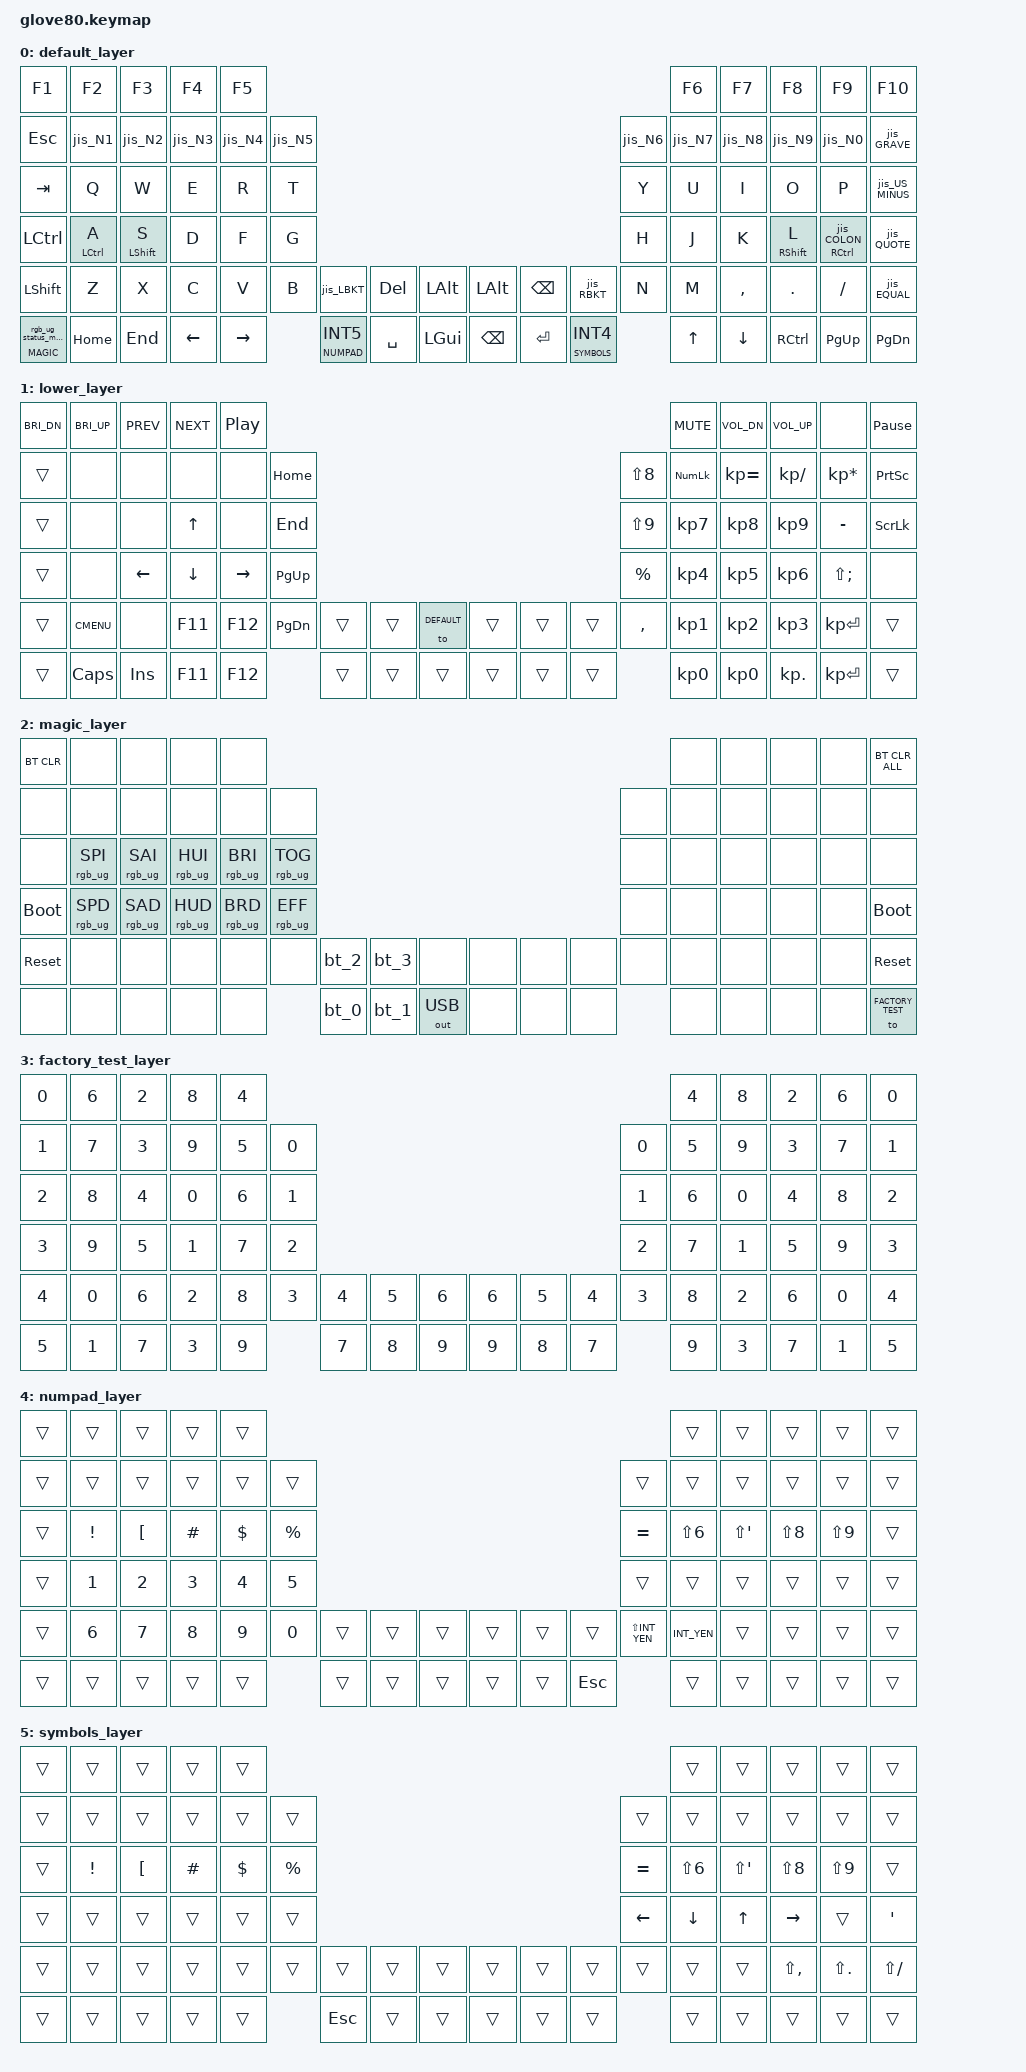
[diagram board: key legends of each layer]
/*
 * Copyright (c) 2020 The ZMK Contributors
 *
 * SPDX-License-Identifier: MIT
 */

#include <behaviors.dtsi>
#include <dt-bindings/zmk/bt.h>
#include <dt-bindings/zmk/keys.h>
#include <dt-bindings/zmk/outputs.h>
#include <dt-bindings/zmk/rgb.h>
#include "behaviors/us_like_jis.dtsi"

#define HYPER LC(LS(LG(LALT)))

// layers

#define DEFAULT 0
#define LOWER 1
#define MAGIC 2
#define FACTORY_TEST 3
#define NUMPAD 4
#define SYMBOLS 5

// JIS key definitions - maps US physical layout to JIS OS output
// Basic symbols

#define JIS_AT        LBKT          // @
#define JIS_BACKQUOTE LS(LBKT)      // `
#define JIS_CARET     EQUAL         // ^
#define JIS_TILDE     LS(EQUAL)     // ~
#define JIS_LBRACKET  RBKT          // [
#define JIS_LBRACE    LS(RBKT)      // {
#define JIS_RBRACKET  BSLH          // ]
#define JIS_RBRACE    LS(BSLH)      // }
#define JIS_SEMICOLON SEMI          // ;
#define JIS_PLUS      LS(SEMI)      // +
#define JIS_COLON     SQT           // :
#define JIS_ASTERISK  LS(SQT)       // *
#define JIS_MINUS     MINUS         // -
#define JIS_EQUAL     LS(MINUS)     // =
#define JIS_UNDERSCORE LS(INT_RO)   // _
#define JIS_QUOTE     LS(N7)        // '
#define JIS_DQUOTE    LS(N2)        // "
#define JIS_AMPERSAND LS(N6)        // &
#define JIS_LPAREN    LS(N8)        // (
#define JIS_RPAREN    LS(N9)        // )

// Japanese specific keys

#define JIS_YEN       INT_RO        // ¥
#define JIS_PIPE      LS(INT_RO)    // | (alternative: LS(YEN))
#define JIS_HENKAN    INT4          // 変換
#define JIS_MUHENKAN  INT5          // 無変換

/ {
    combos {
        compatible = "zmk,combos";

        combo_tab {
            timeout-ms = <50>;
            key-positions = <37 38>; // D (37) + F (38)
            bindings = <&kp TAB>;
        };
    };

    behaviors {
        // For the "layer" key, it'd nice to be able to use it as either a shift or a toggle.
        // Configure it as a tap dance, so the first tap (or hold) is a &mo and the second tap is a &to

        layer_td: tap_dance_0 {
            compatible = "zmk,behavior-tap-dance";
            label = "LAYER_TAP_DANCE";
            #binding-cells = <0>;
            tapping-term-ms = <200>;
            bindings = <&mo LOWER>, <&to LOWER>;
        };

        magic: magic_hold_tap {
            compatible = "zmk,behavior-hold-tap";
            label = "MAGIC_HOLD_TAP";
            #binding-cells = <2>;
            flavor = "tap-preferred";
            tapping-term-ms = <200>;
            bindings = <&mo>, <&rgb_ug_status_macro>;
        };

        muhenkan_ht: muhenkan_hold_tap {
            compatible = "zmk,behavior-hold-tap";
            label = "MUHENKAN_HOLD_TAP";
            #binding-cells = <2>;
            flavor = "tap-preferred";
            tapping-term-ms = <200>;
            bindings = <&mo>, <&kp>;
        };

        henkan_ht: henkan_hold_tap {
            compatible = "zmk,behavior-hold-tap";
            label = "HENKAN_HOLD_TAP";
            #binding-cells = <2>;
            flavor = "tap-preferred";
            tapping-term-ms = <200>;
            bindings = <&mo>, <&kp>;
        };

        // Home row mods - optimized for typing

        hm_l: homerow_mods_left {
            compatible = "zmk,behavior-hold-tap";
            label = "HOMEROW_MODS_LEFT";
            #binding-cells = <2>;
            flavor = "balanced";
            tapping-term-ms = <280>;
            quick-tap-ms = <175>;
            bindings = <&kp>, <&kp>;

            hold-trigger-key-positions = <6 7 8 9 10 11 18 19 20 21 22 23 30 31 32 33 34 35 42 43 44 45 46 47 54 55 56 57 58 59 60 61 62 63 64 65 66 67 68 69 70 71 72 73 74 75 76 77 78 79>;  // right hand + thumbs
            hold-trigger-on-release;  // Activate hold immediately when pressing cross-hand key
        };

        hm_r: homerow_mods_right {
            compatible = "zmk,behavior-hold-tap";
            label = "HOMEROW_MODS_RIGHT";
            #binding-cells = <2>;
            flavor = "balanced";
            tapping-term-ms = <280>;
            quick-tap-ms = <175>;
            bindings = <&kp>, <&kp>;

            hold-trigger-key-positions = <0 1 2 3 4 5 12 13 14 15 16 17 24 25 26 27 28 29 36 37 38 39 40 41 48 49 50 51 52 53 54 55 56 57 58 59 60 61 62 63 64 65 66 67 68 69 70 71 72 73 74 75 76 77 78 79>;  // left hand + thumbs
            hold-trigger-on-release;  // Activate hold immediately when pressing cross-hand key
        };

        semicolon_rctrl: semicolon_rctrl {
            compatible = "zmk,behavior-hold-tap";
            label = "SEMICOLON_RCTRL";
            #binding-cells = <2>;
            flavor = "balanced";
            tapping-term-ms = <280>;
            quick-tap-ms = <175>;
            bindings = <&kp>, <&jis_COLON>;

            hold-trigger-key-positions = <0 1 2 3 4 5 12 13 14 15 16 17 24 25 26 27 28 29 36 37 38 39 40 41 48 49 50 51 52 53 54 55 56 57 58 59 60 61 62 63 64 65 66 67 68 69 70 71 72 73 74 75 76 77 78 79>;  // left hand + thumbs
            hold-trigger-on-release;  // Activate hold immediately when pressing cross-hand key
        };
    };

    macros {
        rgb_ug_status_macro: rgb_ug_status_macro_0 {
            label = "RGB_UG_STATUS";
            compatible = "zmk,behavior-macro";
            #binding-cells = <0>;
            bindings = <&rgb_ug RGB_STATUS>;
        };

        bt_0: bt_profile_macro_0 {
            label = "BT_0";
            compatible = "zmk,behavior-macro";
            #binding-cells = <0>;
            bindings = <&out OUT_BLE &bt BT_SEL 0>;
        };

        bt_1: bt_profile_macro_1 {
            label = "BT_1";
            compatible = "zmk,behavior-macro";
            #binding-cells = <0>;
            bindings = <&out OUT_BLE &bt BT_SEL 1>;
        };

        bt_2: bt_profile_macro_2 {
            label = "BT_2";
            compatible = "zmk,behavior-macro";
            #binding-cells = <0>;
            bindings = <&out OUT_BLE &bt BT_SEL 2>;
        };

        bt_3: bt_profile_macro_3 {
            label = "BT_3";
            compatible = "zmk,behavior-macro";
            #binding-cells = <0>;
            bindings = <&out OUT_BLE &bt BT_SEL 3>;
        };
    };

    keymap {
        compatible = "zmk,keymap";

        default_layer {
            // ---------------------------------------------------------------------------------------------------------------------------------
            // |  F1   |  F2 |  F3 |  F4  |  F5  |                                                               |  F6   |  F7   |  F8  |   F9  |  F10 |
            // |  ESC  |  1  |  2  |  3   |  4   |  5   |                                                 |  6   |   7   |   8   |  9   |   0   |   `  |  (US layout, JIS keycodes)
            // |  TAB  |  Q  |  W  |  E   |  R   |  T   |                                                 |  Y   |   U   |   I   |  O   |   P   |   -  |
            // | CTRL  | A/Ctrl | S/Shift | D | F | G   |                                                 |  H   |   J   |   K   | L/Shift | ;/Ctrl |   '  |  (Home row mods)
            // | SHFT  |  Z  |  X  |  C   |  V   |  B   |  }    | DEL   | ALT   | | ALT   | BSPC  |  {    |  N   |   M   |   ,   |  .   |   /   |   =  |
            // | MAGIC | HOME| END | LEFT | RIGHT|      | 無変換 | SPACE | GUI   | | BKSP | ENTER | 変換  |      |  UP   | DOWN  | Shift | PGUP | PGDN |

            bindings = <
&kp F1          &kp F2         &kp F3         &kp F4    &kp F5                                                                                                                        &kp F6   &kp F7     &kp F8         &kp F9                    &kp F10
&kp ESC         &jis_N1        &jis_N2        &jis_N3   &jis_N4    &jis_N5                                                                                                   &jis_N6  &jis_N7  &jis_N8    &jis_N9        &jis_N0                   &jis_GRAVE
&kp TAB         &kp Q          &kp W          &kp E     &kp R      &kp T                                                                                                     &kp Y    &kp U    &kp I      &kp O          &kp P                     &jis_US_MINUS
&kp LCTRL       &hm_l LCTRL A  &hm_l LSHFT S  &kp D     &kp F      &kp G                                                                                                     &kp H    &kp J    &kp K      &hm_r RSHFT L  &semicolon_rctrl RCTRL 0  &jis_QUOTE
&kp LSHFT       &kp Z          &kp X          &kp C     &kp V      &kp B    &jis_LBKT                 &kp DEL    &kp LALT  &kp LALT       &kp BSPC  &jis_RBKT                &kp N    &kp M    &kp COMMA  &kp DOT        &kp FSLH                  &jis_EQUAL
&magic MAGIC 0  &kp HOME       &kp END        &kp LEFT  &kp RIGHT           &muhenkan_ht NUMPAD INT5  &kp SPACE  &kp LGUI  &kp BACKSPACE  &kp RET   &henkan_ht SYMBOLS INT4           &kp UP   &kp DOWN   &kp RCTRL      &kp PG_UP                 &kp PG_DN
            >;
        };

        lower_layer {
            bindings = <
&kp C_BRI_DN  &kp C_BRI_UP  &kp C_PREV  &kp C_NEXT  &kp C_PP                                                                               &kp C_MUTE  &kp C_VOL_DN  &kp C_VOL_UP   &none            &kp PAUSE_BREAK
&trans        &none         &none       &none       &none      &kp HOME                                                        &kp LS(N8)  &kp KP_NUM  &kp KP_EQUAL  &kp KP_DIVIDE  &kp KP_MULTIPLY  &kp PSCRN
&trans        &none         &none       &kp UP      &none      &kp END                                                         &kp LS(N9)  &kp KP_N7   &kp KP_N8     &kp KP_N9      &kp MINUS        &kp SLCK
&trans        &none         &kp LEFT    &kp DOWN    &kp RIGHT  &kp PG_UP                                                       &kp PRCNT   &kp KP_N4   &kp KP_N5     &kp KP_N6      &kp LS(SEMI)     &none
&trans        &kp K_CMENU   &none       &kp F11     &kp F12    &kp PG_DN  &trans  &trans  &to DEFAULT  &trans  &trans  &trans  &kp COMMA   &kp KP_N1   &kp KP_N2     &kp KP_N3      &kp KP_ENTER     &trans
&trans        &kp CAPS      &kp INS     &kp F11     &kp F12               &trans  &trans  &trans       &trans  &trans  &trans              &kp KP_N0   &kp KP_N0     &kp KP_DOT     &kp KP_ENTER     &trans
            >;
        };

        magic_layer {
            bindings = <
&bt BT_CLR   &none            &none            &none            &none                                                                                     &none  &none  &none  &none  &bt BT_CLR_ALL
&none        &none            &none            &none            &none            &none                                                             &none  &none  &none  &none  &none  &none
&none        &rgb_ug RGB_SPI  &rgb_ug RGB_SAI  &rgb_ug RGB_HUI  &rgb_ug RGB_BRI  &rgb_ug RGB_TOG                                                   &none  &none  &none  &none  &none  &none
&bootloader  &rgb_ug RGB_SPD  &rgb_ug RGB_SAD  &rgb_ug RGB_HUD  &rgb_ug RGB_BRD  &rgb_ug RGB_EFF                                                   &none  &none  &none  &none  &none  &bootloader
&sys_reset   &none            &none            &none            &none            &none            &bt_2  &bt_3  &none         &none  &none  &none  &none  &none  &none  &none  &none  &sys_reset
&none        &none            &none            &none            &none                             &bt_0  &bt_1  &out OUT_USB  &none  &none  &none         &none  &none  &none  &none  &to FACTORY_TEST
            >;
        };

        factory_test_layer {
            bindings = <
&kp N0  &kp N6  &kp N2  &kp N8  &kp N4                                                                  &kp N4  &kp N8  &kp N2  &kp N6  &kp N0
&kp N1  &kp N7  &kp N3  &kp N9  &kp N5  &kp N0                                                  &kp N0  &kp N5  &kp N9  &kp N3  &kp N7  &kp N1
&kp N2  &kp N8  &kp N4  &kp N0  &kp N6  &kp N1                                                  &kp N1  &kp N6  &kp N0  &kp N4  &kp N8  &kp N2
&kp N3  &kp N9  &kp N5  &kp N1  &kp N7  &kp N2                                                  &kp N2  &kp N7  &kp N1  &kp N5  &kp N9  &kp N3
&kp N4  &kp N0  &kp N6  &kp N2  &kp N8  &kp N3  &kp N4  &kp N5  &kp N6  &kp N6  &kp N5  &kp N4  &kp N3  &kp N8  &kp N2  &kp N6  &kp N0  &kp N4
&kp N5  &kp N1  &kp N7  &kp N3  &kp N9          &kp N7  &kp N8  &kp N9  &kp N9  &kp N8  &kp N7          &kp N9  &kp N3  &kp N7  &kp N1  &kp N5
            >;
        };

        numpad_layer {
            // ---------------------------------------------------------------------------------------------------------------------------------
            // NUMPAD layer: asdfgzxcvb = 1234567890, qwertyuiop = !@#$%^&*()
            // |       |     |     |      |      |                                                               |       |       |      |       |      |
            // |       |     |     |      |      |      |                                                 |      |       |       |      |       |      |
            // |       |  !  |  @  |  #   |  $   |  %   |                                                 |  ^   |   &   |   *   |  (   |   )   |      |
            // |       |  1  |  2  |  3   |  4   |  5   |                                                 |  H   |   J   |   K   |  L   |   ;   |      |
            // |       |  6  |  7  |  8   |  9   |  0   |       |       |       | |       |       |       |  N   |   M   |   ,   |  .   |   /   |      |
            // |       |     |     |      |      |      |       |       |       | |       |       |       |      |       |       |      |       |      |

            bindings = <
&trans  &trans    &trans    &trans    &trans                                                                                 &trans       &trans       &trans      &trans      &trans
&trans  &trans    &trans    &trans    &trans    &trans                                                      &trans           &trans       &trans       &trans      &trans      &trans
&trans  &kp EXCL  &kp LBKT  &kp HASH  &kp DLLR  &kp PRCNT                                                   &kp EQUAL        &kp LS(N6)   &kp LS(SQT)  &kp LS(N8)  &kp LS(N9)  &trans
&trans  &kp N1    &kp N2    &kp N3    &kp N4    &kp N5                                                      &trans           &trans       &trans       &trans      &trans      &trans
&trans  &kp N6    &kp N7    &kp N8    &kp N9    &kp N0     &trans  &trans  &trans  &trans  &trans  &trans   &kp LS(INT_YEN)  &kp INT_YEN  &trans       &trans      &trans      &trans
&trans  &trans    &trans    &trans    &trans               &trans  &trans  &trans  &trans  &trans  &kp ESC                   &trans       &trans       &trans      &trans      &trans
            >;
        };

        symbols_layer {
            // ---------------------------------------------------------------------------------------------------------------------------------
            // SYMBOLS layer - all symbols are shifted versions (JIS keycodes)
            // |       |     |     |      |      |                                                               |       |       |      |       |      |
            // |       |     |     |      |      |      |                                                 |      |       |       |      |       |      |
            // |       |  !  |  @  |  #   |  $   |  %   |                                                 |  ^   |   &   |   *   |  (   |   )   |   `  |
            // |       |  A  |  S  |  D   |  F   |  G   |                                                 |  H   |   J   |   K   |  L   |   :   |   "  |
            // |       |  Z  |  X  |  C   |  V   |  B   |       |       |       | |       |       |       |  N   |   M   |   <   |  >   |   ?   |      |
            // |       |     |     |      |      |      |       |       |       | |       |       |       |      |       |       |      |       |      |

            bindings = <
&trans  &trans    &trans    &trans    &trans                                                                                &trans      &trans       &trans         &trans       &trans
&trans  &trans    &trans    &trans    &trans    &trans                                                      &trans          &trans      &trans       &trans         &trans       &trans
&trans  &kp EXCL  &kp LBKT  &kp HASH  &kp DLLR  &kp PRCNT                                                   &kp EQUAL       &kp LS(N6)  &kp LS(SQT)  &kp LS(N8)     &kp LS(N9)   &trans
&trans  &trans    &trans    &trans    &trans    &trans                                                      &kp LEFT_ARROW  &kp DOWN    &kp UP       &kp RIGHT      &trans       &kp SQT
&trans  &trans    &trans    &trans    &trans    &trans     &trans   &trans  &trans  &trans  &trans  &trans  &trans          &trans      &trans       &kp LS(COMMA)  &kp LS(DOT)  &kp LS(FSLH)
&trans  &trans    &trans    &trans    &trans               &kp ESC  &trans  &trans  &trans  &trans  &trans                  &trans      &trans       &trans         &trans       &trans
            >;
        };
    };
};
